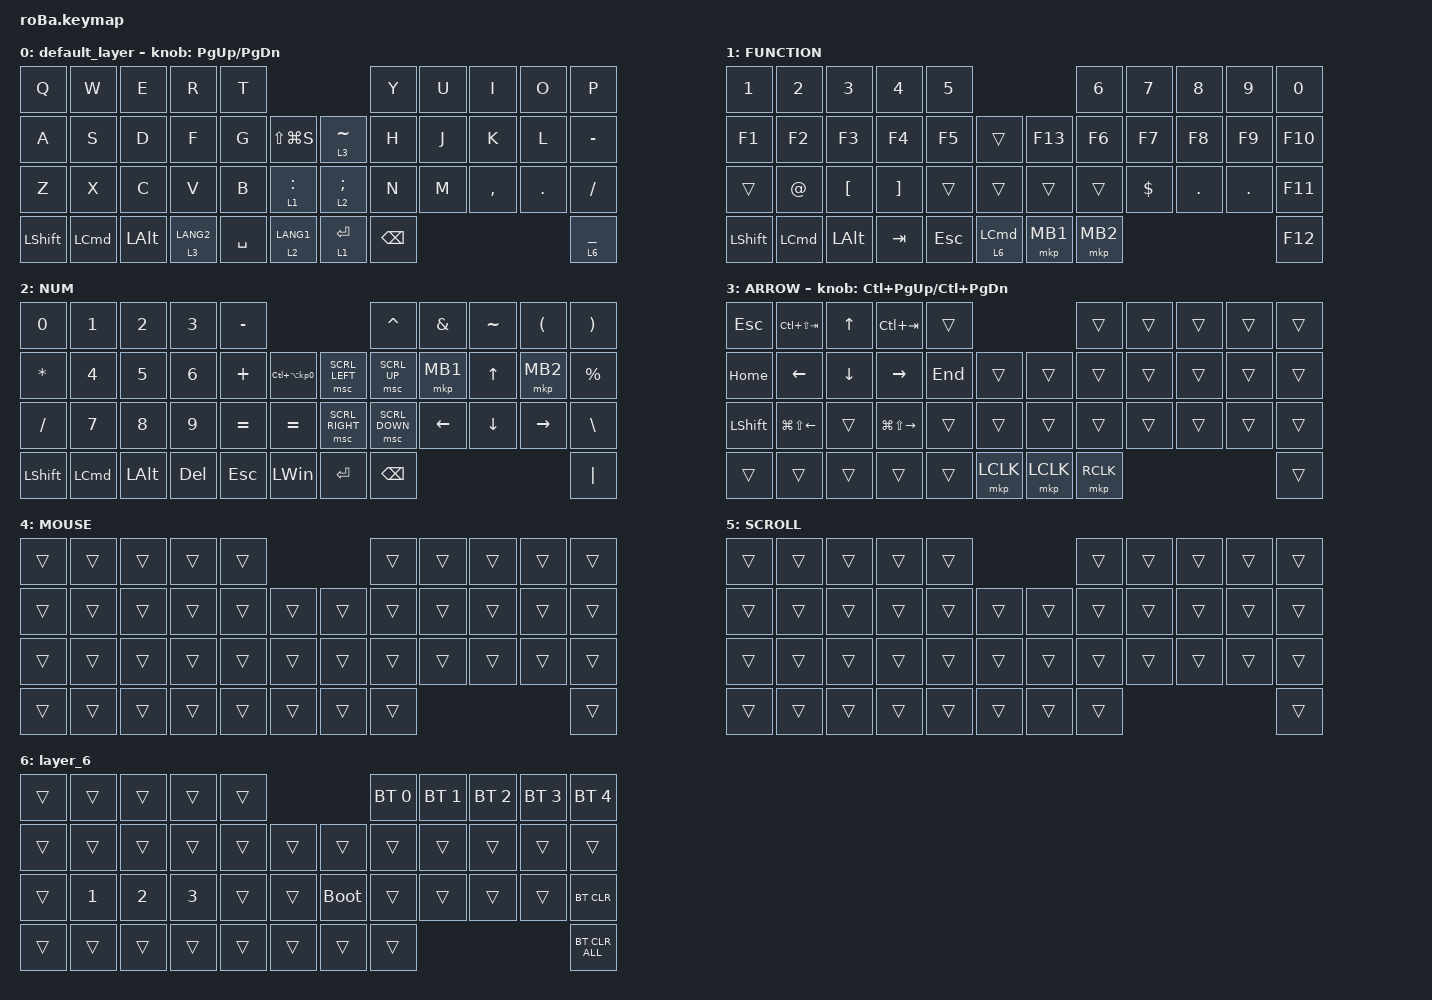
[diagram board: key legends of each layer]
#include <behaviors.dtsi>
#include <dt-bindings/zmk/bt.h>
#include <dt-bindings/zmk/keys.h>
#include <dt-bindings/zmk/pointing.h>

#define MOUSE 4
#define SCROLL 5
#define NUM 6

&mt {
    flavor = "balanced";
    quick-tap-ms = <0>;
};

/ {
    combos {
        compatible = "zmk,combos";

        tab {
            bindings = <&kp TAB>;
            key-positions = <11 12>;
        };

        shift_tab {
            bindings = <&kp LS(TAB)>;
            key-positions = <12 13>;
        };

        muhennkann {
            bindings = <&to_layer_0 INT_MUHENKAN>;
            key-positions = <11 10>;
        };

        double_quotation {
            bindings = <&kp DOUBLE_QUOTES>;
            key-positions = <20 21>;
        };

        eq {
            bindings = <&kp EQUAL>;
            key-positions = <24 25>;
        };
    };

    macros {
        to_layer_0: to_layer_0 {
            compatible = "zmk,behavior-macro-one-param";
            #binding-cells = <1>;
            bindings = <&to 0 &macro_param_1to1 &kp MACRO_PLACEHOLDER>;
            label = "TO_LAYER_0";
        };
    };

    behaviors {
        lt_to_layer_0: lt_to_layer_0 {
            compatible = "zmk,behavior-hold-tap";
            label = "LAYER_TAP_TO_0";
            bindings = <&mo>, <&to_layer_0>;

            #binding-cells = <2>;
            tapping-term-ms = <200>;
        };
    };

    keymap {
        compatible = "zmk,keymap";

        default_layer {
            bindings = <
&kp Q           &kp W             &kp E         &kp R                   &kp T                                                              &kp Y          &kp U  &kp I      &kp O    &kp P
&kp A           &kp S             &kp D         &kp F                   &kp G      &kp LS(LG(S))               &lt_to_layer_0 3 TILDE      &kp H          &kp J  &kp K      &kp L    &kp MINUS
&kp Z           &kp X             &kp C         &kp V                   &kp B      &lt_to_layer_0 1 COLON      &lt_to_layer_0 2 SEMICOLON  &kp N          &kp M  &kp COMMA  &kp DOT  &kp SLASH
&kp LEFT_SHIFT  &kp LEFT_COMMAND  &kp LEFT_ALT  &lt_to_layer_0 3 LANG2  &kp SPACE  &lt_to_layer_0 2 LANG1      &lt_to_layer_0 1 ENTER      &kp BACKSPACE                             &lt_to_layer_0 6 UNDER
            >;

            sensor-bindings = <&inc_dec_kp PG_UP PAGE_DOWN>;
        };

        FUNCTION {
            bindings = <
&kp NUMBER_1    &kp NUMBER_2      &kp NUMBER_3      &kp NUMBER_4  &kp NUMBER_5                                               &kp NUMBER_6  &kp NUMBER_7  &kp NUMBER_8  &kp NUMBER_9  &kp NUMBER_0
&kp F1          &kp F2            &kp F3            &kp F4        &kp F5        &trans                             &kp F13   &kp F6        &kp F7        &kp F8        &kp F9        &kp F10
&trans          &kp AT            &kp LEFT_BRACKET  &kp RBKT      &trans        &trans                             &trans    &trans        &kp DOLLAR    &kp PERIOD    &kp PERIOD    &kp F11
&kp LEFT_SHIFT  &kp LEFT_COMMAND  &kp LEFT_ALT      &kp TAB       &kp ESC       &lt_to_layer_0 6 LEFT_COMMAND      &mkp MB1  &mkp MB2                                                &kp F12
            >;
        };

        NUM {
            bindings = <
&kp N0          &kp N1            &kp N2        &kp N3   &kp MINUS                                                 &kp CARET       &kp AMPERSAND  &kp TILDE  &kp LEFT_PARENTHESIS  &kp RIGHT_PARENTHESIS
&kp ASTERISK    &kp N4            &kp N5        &kp N6   &kp PLUS    &kp LC(LA(KP_NUMBER_0))      &msc SCRL_LEFT   &msc SCRL_UP    &mkp MB1       &kp UP     &mkp MB2              &kp PERCENT
&kp SLASH       &kp N7            &kp N8        &kp N9   &kp EQUAL   &kp EQUAL                    &msc SCRL_RIGHT  &msc SCRL_DOWN  &kp LEFT       &kp DOWN   &kp RIGHT             &kp BACKSLASH
&kp LEFT_SHIFT  &kp LEFT_COMMAND  &kp LEFT_ALT  &kp DEL  &kp ESCAPE  &kp LEFT_WIN                 &kp ENTER        &kp BACKSPACE                                                   &kp PIPE
            >;
        };

        ARROW {
            bindings = <
&kp ESCAPE      &kp LC(LS(TAB))         &kp UP_ARROW    &kp LC(TAB)              &trans                             &trans     &trans  &trans  &trans  &trans
&kp HOME        &kp LEFT_ARROW          &kp DOWN_ARROW  &kp RIGHT_ARROW          &kp END  &trans         &trans     &trans     &trans  &trans  &trans  &trans
&kp LEFT_SHIFT  &kp LG(LS(LEFT_ARROW))  &trans          &kp LG(LS(RIGHT_ARROW))  &trans   &trans         &trans     &trans     &trans  &trans  &trans  &trans
&trans          &trans                  &trans          &trans                   &trans   &mkp LCLK      &mkp LCLK  &mkp RCLK                          &trans
            >;

            sensor-bindings = <&inc_dec_kp LC(PAGE_UP) LC(PAGE_DOWN)>;
        };

        MOUSE {
            bindings = <
&trans  &trans  &trans  &trans  &trans                      &trans  &trans  &trans  &trans  &trans
&trans  &trans  &trans  &trans  &trans  &trans      &trans  &trans  &trans  &trans  &trans  &trans
&trans  &trans  &trans  &trans  &trans  &trans      &trans  &trans  &trans  &trans  &trans  &trans
&trans  &trans  &trans  &trans  &trans  &trans      &trans  &trans                          &trans
            >;
        };

        SCROLL {
            bindings = <
&trans  &trans  &trans  &trans  &trans                      &trans  &trans  &trans  &trans  &trans
&trans  &trans  &trans  &trans  &trans  &trans      &trans  &trans  &trans  &trans  &trans  &trans
&trans  &trans  &trans  &trans  &trans  &trans      &trans  &trans  &trans  &trans  &trans  &trans
&trans  &trans  &trans  &trans  &trans  &trans      &trans  &trans                          &trans
            >;
        };

        layer_6 {
            bindings = <
&trans  &trans        &trans        &trans        &trans                           &bt BT_SEL 0  &bt BT_SEL 1  &bt BT_SEL 2  &bt BT_SEL 3  &bt BT_SEL 4
&trans  &trans        &trans        &trans        &trans  &trans      &trans       &trans        &trans        &trans        &trans        &trans
&trans  &kp NUMBER_1  &kp NUMBER_2  &kp NUMBER_3  &trans  &trans      &bootloader  &trans        &trans        &trans        &trans        &bt BT_CLR
&trans  &trans        &trans        &trans        &trans  &trans      &trans       &trans                                                  &bt BT_CLR_ALL
            >;
        };
    };
};
